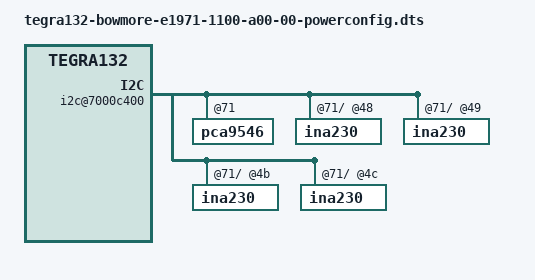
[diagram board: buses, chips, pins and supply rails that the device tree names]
#include "tegra132-bowmore-e1971-1100-a00-00.dts"

/ {
	nvidia,dtsfilename = __FILE__;

	i2c@7000c400 {
		pca9546@71 {
			i2c@3 {
				ina230@48{
					ti,calibration-data = <0x0831>;
					ti,resistor = <10>;
					ti,power-lsb = <6103>;
				};

				ina230@49{
					ti,calibration-data = <0x1062>;
					ti,resistor = <10>;
					ti,power-lsb = <3051>;
				};

				ina230@4b{
					ti,calibration-data = <0x0576>;
					ti,resistor = <10>;
					ti,power-lsb = <9155>;
				};

				ina230@4c{
					ti,calibration-data = <0x7FFF>;
					ti,resistor = <10>;
					ti,power-lsb = <390>;
				};
			};
		};
	};
};
